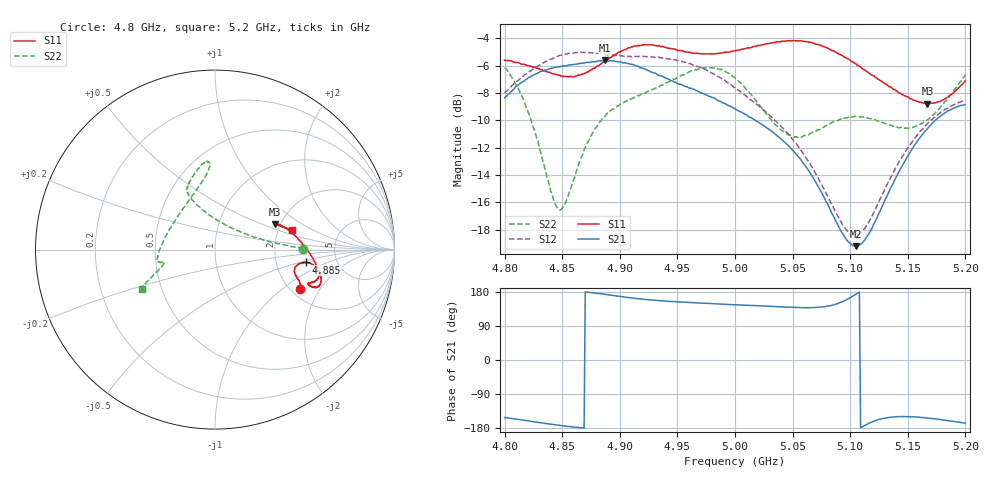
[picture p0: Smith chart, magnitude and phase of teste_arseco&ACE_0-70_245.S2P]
! Network Analyzer HP8722D
! Hewlett-Packard
! Data name: Linha & Wilkinson
! Saver's name: Rodrigo Anjos
! Comments: Teste da utilização de aquisição
! continua pelo VNA HP8722D
! Time and date: 8/5/2025 14:48
!  Frequency  S11  S21  S12  S22
# HZ  S  MA R 50
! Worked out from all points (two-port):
!   401 points, 4.8 GHz to 5.2 GHz, reference 50 ohm
!   highest |S21| = -5.62 dB at 4.887 GHz (marker M1); lowest = -19.2 dB at 5.105 GHz (marker M2)
!   |S21| within 3 dB of the highest: start of sweep to 4.987 GHz
!   lowest |S11| = -8.8 dB at 5.167 GHz (marker M3), VSWR 2.14, Z = 93.5 + j30.8 ohm
!   |S11| at or under -10 dB: nowhere
!   |S22| runs from -16.6 to -6.1 dB; largest |S21 - S12| = 1.1
!   S11 on the Smith chart (normalised r, x): 4.8 GHz: 2.24, -1.37; 4.885 GHz: 2.99, -0.58; 5.2 GHz: 2.36, +0.65
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4.8e9  0.5244 -25.0  0.3815 -152.2  0.3978 7.2  0.4923 0.6
4.82e9  0.5006 -20.5  0.4497 -160.3  0.4718 4.5  0.3431 6.0
4.846e9  0.4634 -16.4  0.4954 -171.8  0.5412 0.2  0.1512 54.4
4.853e9  0.457 -14.7  0.4993 -174.2  0.5522 -0.9  0.158 80.2
4.867e9  0.4648 -10.7  0.5112 -179.3  0.5593 -3.0  0.2338 107.8
4.885e9  0.5142 -8.0  0.5217 174.1  0.5511 -3.9  0.3208 114.8
4.887e9  0.5187 -8.0  0.5238 173.4  0.5511 -3.9  0.3264 115.4
4.912e9  0.5885 -11.8  0.5043 163.2  0.5408 -3.2  0.3816 113.6
4.934e9  0.5927 -16.8  0.4612 156.6  0.5384 -4.0  0.4185 107.9
4.974e9  0.5528 -19.7  0.3925 149.7  0.4846 -7.5  0.4898 95.6
5e9  0.5669 -20.7  0.3477 145.6  0.4161 -7.3  0.4514 94.4
5.018e9  0.59 -20.9  0.3148 143.6  0.3633 -4.4  0.3749 102.6
5.044e9  0.6158 -18.7  0.261 139.7  0.2882 1.0  0.2833 132.4
5.067e9  0.6076 -13.9  0.1977 138.3  0.2129 8.4  0.285 165.1
5.094e9  0.5403 -4.2  0.1208 154.9  0.1302 34.6  0.3225 -173.2
5.105e9  0.5086 0.8  0.1096 173.7  0.12 56.1  0.3261 -169.7
5.117e9  0.4681 7.1  0.1233 -165.8  0.1365 78.1  0.3206 -167.5
5.134e9  0.419 15.5  0.1748 -151.4  0.1911 94.1  0.304 -166.4
5.152e9  0.3785 21.6  0.2418 -149.5  0.2572 99.0  0.2968 -164.6
5.167e9  0.3631 23.2  0.2945 -153.1  0.3071 99.5  0.3177 -161.8
5.183e9  0.3801 20.6  0.3379 -159.3  0.348 99.4  0.3718 -157.4
5.2e9  0.4411 14.6  0.3607 -166.6  0.3749 100.1  0.463 -152.1
